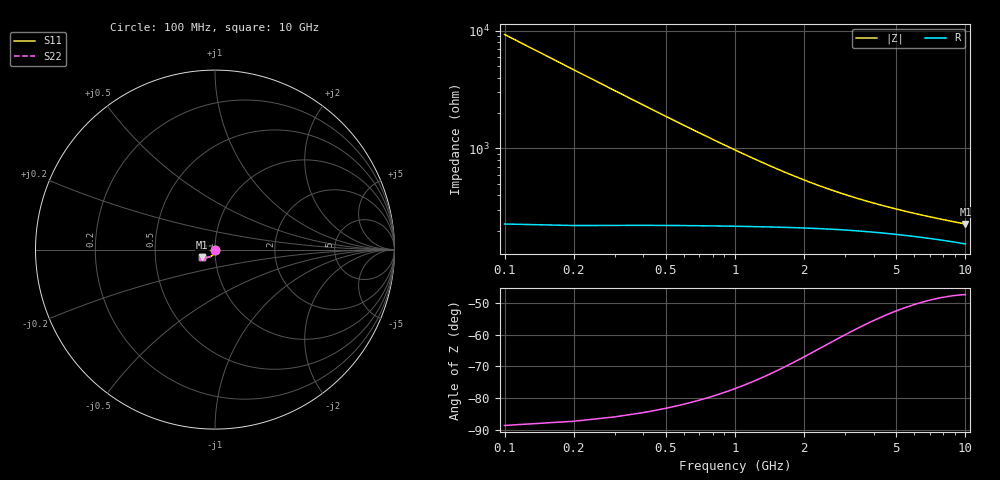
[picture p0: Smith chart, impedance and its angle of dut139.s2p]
! Touchstone file exported from HFSS 2024.1.0
!  File:  C:/UserFiles/LocalFiles/RDL_TSV_Batchsim/temp_TSV1_139_1778754474.aedt
!  Generated:  06:31:53 PM May 14, 2026
!  Design:  TSV1
!  Project:  temp_TSV1_139_1778754474
!  Setup:  Setup1
!  Solution:  Sweep
! Variables:
!  dtsv = 16.1um
!  hbump = 3um
!  htsv = 87.72um
!  lrdl = 252.1521522um
!  p = 40
!  p1 = 46.58um
!  t = 500um
!  trdl = 3um
!  wrdl = 24.89489489um
# GHz S MA R 50.000000
! Terminal data exported
! Port[1] = TSV22_T1
! Port[2] = TSV22_T2
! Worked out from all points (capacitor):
!   100 points, 100 MHz to 10 GHz, reference 50 ohm
!   read as one part in shunt: C = 171 fF near 100 MHz
!   lowest |Z| = 228 ohm at 10 GHz (marker M1)
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0.1  0.002348 -89.6  0.9998 -0.2  0.9998 -0.2  0.002348 -89.6
! Gamma 0 0 0 0
! Port Impedance 50 0 50 0
0.2  0.004702 -92.1  0.9996 -0.3  0.9996 -0.3  0.004702 -92.1
0.3  0.007051 -94.0  0.9993 -0.5  0.9993 -0.5  0.007051 -94.0
0.4  0.009381 -95.9  0.9988 -0.7  0.9988 -0.7  0.009381 -95.9
0.5  0.01168 -97.6  0.9982 -0.8  0.9982 -0.8  0.01168 -97.6
0.6  0.01395 -99.3  0.9975 -1.0  0.9975 -1.0  0.01395 -99.3
0.7  0.01617 -100.9  0.9966 -1.2  0.9966 -1.2  0.01617 -100.9
0.8  0.01835 -102.6  0.9957 -1.3  0.9957 -1.3  0.01835 -102.6
0.9  0.02048 -104.1  0.9948 -1.5  0.9948 -1.5  0.02048 -104.1
1.1  0.02457 -107.1  0.9926 -1.7  0.9926 -1.7  0.02457 -107.1
1.4  0.03027 -111.3  0.989 -2.1  0.989 -2.1  0.03027 -111.3
1.6  0.03375 -113.9  0.9864 -2.4  0.9864 -2.4  0.03375 -113.9
1.8  0.037 -116.3  0.9838 -2.6  0.9838 -2.6  0.037 -116.3
2.1  0.04143 -119.6  0.9798 -2.8  0.9798 -2.8  0.04143 -119.6
2.5  0.04661 -123.5  0.9747 -3.2  0.9747 -3.2  0.04661 -123.5
2.9  0.05106 -126.9  0.9699 -3.4  0.9699 -3.4  0.05106 -126.9
3.4  0.05579 -130.5  0.9645 -3.7  0.9645 -3.7  0.05579 -130.5
4.2  0.06192 -135.1  0.9571 -4.1  0.9571 -4.1  0.06192 -135.1
5.1  0.06731 -139.1  0.9502 -4.4  0.9502 -4.4  0.06731 -139.1
6.7  0.07439 -144.2  0.941 -5.0  0.941 -5.0  0.07439 -144.2
8.4  0.07973 -148.1  0.9338 -5.6  0.9338 -5.6  0.07973 -148.1
10  0.08346 -150.7  0.9289 -6.1  0.9289 -6.1  0.08346 -150.7
